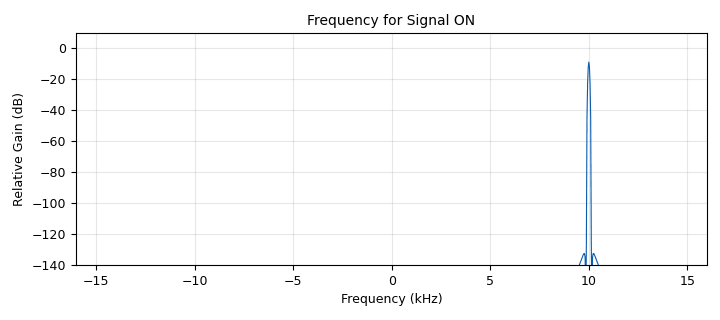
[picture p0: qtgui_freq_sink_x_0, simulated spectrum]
options:
  parameters:
    generate_options: qt_gui
    id: Simulation_of_Observation
    output_language: python
    title: Not titled yet
  states: {}

blocks:
- name: samp_rate
  id: variable
  parameters:
    value: '32000'
  states: {}
- name: analog_sig_source_x_0
  id: analog_sig_source_x
  parameters:
    amp: '1'
    freq: 10e3
    offset: '0'
    phase: '0'
    samp_rate: samp_rate
    type: complex
    waveform: analog.GR_COS_WAVE
  states: {}
- name: analog_sig_source_x_0_0
  id: analog_sig_source_x
  parameters:
    amp: '0'
    freq: '1000'
    offset: '0'
    phase: '0'
    samp_rate: samp_rate
    type: complex
    waveform: analog.GR_COS_WAVE
  states: {}
- name: blocks_selector_0
  id: blocks_selector
  parameters:
    enabled: 'True'
    input_index: '0'
    num_inputs: '2'
    num_outputs: '2'
    output_index: '0'
    type: complex
  states: {}
- name: qtgui_freq_sink_x_0
  id: qtgui_freq_sink_x
  parameters:
    bw: samp_rate
    fc: '0'
    fftsize: '1024'
    name: '"Frequency for Signal ON"'
    type: complex
  states: {}
- name: qtgui_freq_sink_x_0_0
  id: qtgui_freq_sink_x
  parameters:
    bw: samp_rate
    fc: '0'
    fftsize: '1024'
    name: '"Frequency for Signal OFF"'
    type: complex
  states: {}

connections:
- [analog_sig_source_x_0, '0', blocks_selector_0, '0']
- [analog_sig_source_x_0_0, '0', blocks_selector_0, '1']
- [blocks_selector_0, '0', qtgui_freq_sink_x_0, '0']
- [blocks_selector_0, '1', qtgui_freq_sink_x_0_0, '0']

metadata:
  file_format: 1
  grc_version: 3.10.9.2
